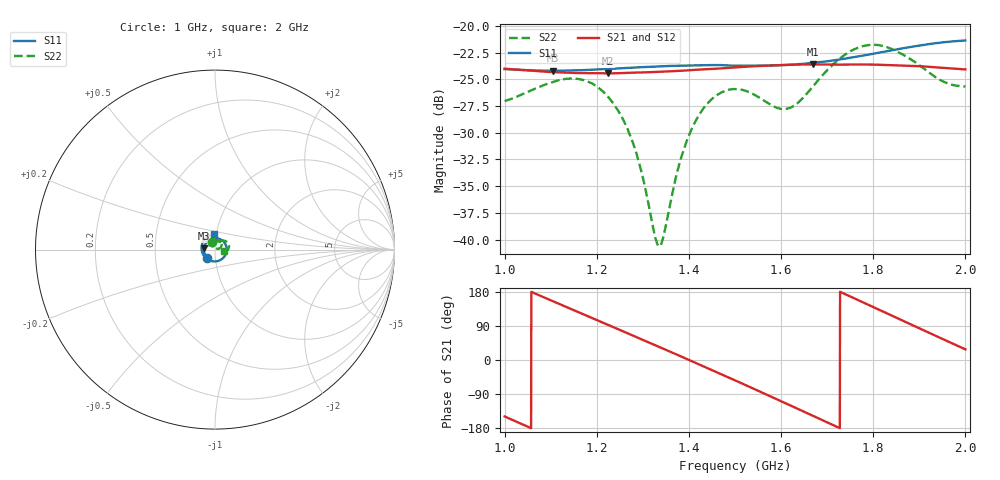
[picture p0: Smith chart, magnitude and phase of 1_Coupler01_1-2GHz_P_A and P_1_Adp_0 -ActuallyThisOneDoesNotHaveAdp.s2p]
# GHZ S RI R 50
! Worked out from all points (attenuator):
!   2001 points, 1 GHz to 2 GHz, reference 50 ohm
!   highest |S21| = -23.61 dB at 1.669 GHz (marker M1); lowest = -24.4 dB at 1.224 GHz (marker M2)
!   lowest |S11| = -24.2 dB at 1.105 GHz (marker M3), VSWR 1.13, Z = 44.2 + j0.655 ohm
!   |S11| at or under -10 dB: start of sweep to end of sweep
!   |S22| runs from -40.6 to -21.8 dB; largest |S21 - S12| = 7.5e-05
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1  -0.0443 -0.0444  -0.054 -0.0325  -0.0541 -0.0325  -0.0164 0.0414
1.105  -0.0613 0.00738  -0.0551 0.0257  -0.0551 0.0257  0.00473 0.0545
1.167  -0.049 0.0381  -0.0324 0.0506  -0.0324 0.0507  0.0269 0.0492
1.2245  -0.0252 0.0576  -0.00279 0.0599  -0.00278 0.0599  0.0374 0.0278
1.255  -0.00944 0.0627  0.0137 0.0586  0.0137 0.0586  0.0338 0.0155
1.28  0.00411 0.0637  0.0267 0.0542  0.0268 0.0542  0.0266 0.008
1.2975  0.0136 0.0626  0.0352 0.0493  0.0352 0.0493  0.0198 0.00528
1.325  0.028 0.0581  0.0466 0.0391  0.0466 0.0392  0.00877 0.00604
1.3335  0.0322 0.0561  0.0496 0.0355  0.0496 0.0355  0.00565 0.00747
1.3445  0.0373 0.0529  0.0531 0.0303  0.0531 0.0303  0.00206 0.0101
1.383  0.0528 0.0383  0.0608 0.01  0.0609 0.01  -0.00458 0.0237
1.411  0.0605 0.0247  0.0619 -0.00602  0.062 -0.00603  -0.00248 0.0346
1.451  0.0655 0.00252  0.056 -0.0287  0.056 -0.0287  0.00878 0.0448
1.5  0.0601 -0.0251  0.038 -0.0514  0.038 -0.0515  0.0247 0.0442
1.6065  0.0139 -0.0641  -0.025 -0.0607  -0.025 -0.0607  0.0262 0.0313
1.6325  -0.00161 -0.0661  -0.0395 -0.0527  -0.0396 -0.0527  0.0247 0.0351
1.667  -0.0223 -0.0632  -0.0548 -0.0367  -0.0549 -0.0368  0.028 0.0431
1.6695  -0.0238 -0.0628  -0.0557 -0.0354  -0.0558 -0.0354  0.0285 0.0437
1.755  -0.0641 -0.0309  -0.0637 0.0172  -0.0637 0.0172  0.0614 0.0465
1.8335  -0.0747 0.0159  -0.0336 0.0563  -0.0336 0.0563  0.0779 0.0135
1.949  -0.0368 0.0752  0.0353 0.053  0.0353 0.053  0.0546 -0.00834
2  -0.00585 0.0853  0.0552 0.0295  0.0552 0.0295  0.0517 -0.00629
